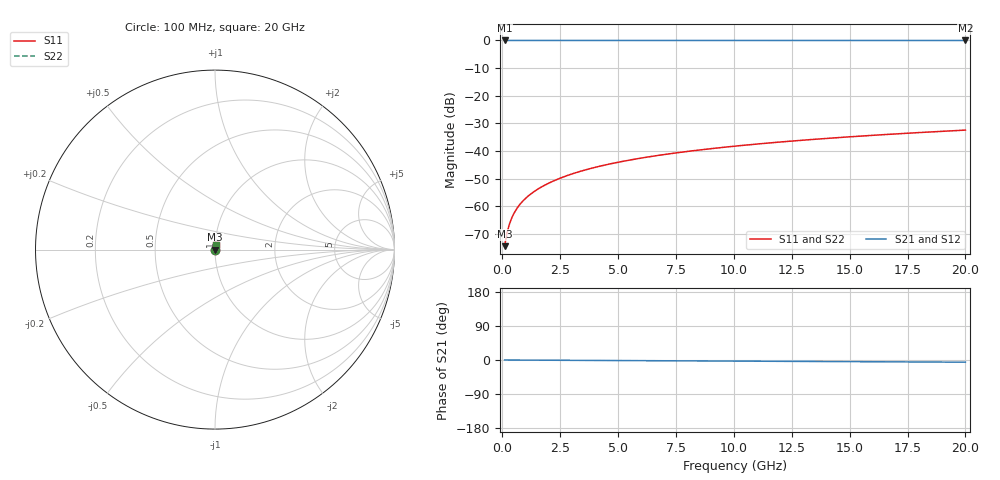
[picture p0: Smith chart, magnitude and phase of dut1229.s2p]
! Touchstone file exported from HFSS 2026.1.0
!  File:  C:/ffzhzh/LocalFiles/Ansys_Project_Files/temp_train_TSV_1229_1783193245_55132.aedt
!  Generated:  03:28:55 AM Jul  5, 2026
!  Design:  TSV
!  Project:  temp_train_TSV_1229_1783193245_55132
! Variables:
!  h_bsmrdl = 2um
!  h_ox = 20um
!  h_rdl = 5um
!  h_sub = 51.23um
!  h_tmrdl = 5um
!  h_tsv = 51.23um
!  h_via = 3um
!  l_bsmrdl = 300um
!  l_sub = 417.04um
!  l_tmrdl = 200um
!  m_sub = 200um
!  pitch = 44.96um
!  r_tsv = 8.52um
!  s_tmrdl = 10um
!  w_bsmrdl = 18um
!  w_sub = 500um
!  w_tmrdl = 12um
!  x_tsv_center1 = 206um
!  x_tsv_center2 = 524um
!  x_tsv_center3 = 736um
!  x_tsv_center4 = 1054um
!  x_tsv_center5 = 1266um
!  x_tsv_center6 = 1584um
# GHz S MA R 50.000000
! Terminal data exported
! Port[1] = TSV1_1_T1
! Port[2] = TSV1_1_T2
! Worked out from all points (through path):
!   200 points, 100 MHz to 20 GHz, reference 50 ohm
!   highest |S21| = 0.00 dB at 100 MHz (marker M1); lowest = 0.0 dB at 20 GHz (marker M2)
!   lowest |S11| = -74.4 dB at 100 MHz (marker M3), VSWR 1.00, Z = 50 + j0.015 ohm
!   |S11| at or under -10 dB: start of sweep to end of sweep
!   |S22| runs from -74.4 to -32.4 dB; largest |S21 - S12| = 3.3e-15
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0.1  0.0001898 52.3  0.9999 -0.0  0.9999 -0.0  0.0001898 52.3
! Gamma 0 0 0 0
! Port Impedance 50 0 50 0
0.2  0.0003233 67.3  0.9999 -0.1  0.9999 -0.1  0.0003233 67.3
0.3  0.000464 72.7  0.9999 -0.1  0.9999 -0.1  0.000464 72.7
0.4  0.0006035 75.3  0.9998 -0.1  0.9998 -0.1  0.0006035 75.3
0.5  0.0007401 76.7  0.9998 -0.2  0.9998 -0.2  0.0007401 76.7
0.6  0.0008734 77.6  0.9998 -0.2  0.9998 -0.2  0.0008734 77.6
0.7  0.001004 78.3  0.9998 -0.2  0.9998 -0.2  0.001004 78.3
0.8  0.001132 78.8  0.9998 -0.2  0.9998 -0.2  0.001132 78.8
1  0.001384 79.7  0.9998 -0.3  0.9998 -0.3  0.001384 79.7
1.4  0.001877 81.0  0.9997 -0.4  0.9997 -0.4  0.001877 81.0
1.7  0.002245 81.8  0.9997 -0.5  0.9997 -0.5  0.002245 81.8
2  0.002613 82.3  0.9997 -0.6  0.9997 -0.6  0.002613 82.3
2.7  0.003469 83.2  0.9996 -0.8  0.9996 -0.8  0.003469 83.2
3.5  0.004444 83.7  0.9996 -1.0  0.9996 -1.0  0.004444 83.7
4.2  0.005293 83.9  0.9995 -1.2  0.9995 -1.2  0.005293 83.9
5  0.006257 84.0  0.9995 -1.5  0.9995 -1.5  0.006257 84.0
6.8  0.008406 84.1  0.9994 -2.0  0.9994 -2.0  0.008406 84.1
8.3  0.01018 84.0  0.9993 -2.4  0.9993 -2.4  0.01018 84.0
10.1  0.01231 83.8  0.9992 -2.9  0.9992 -2.9  0.01231 83.8
13.4  0.01619 83.3  0.9991 -3.9  0.9991 -3.9  0.01619 83.3
16.7  0.02004 82.6  0.9989 -4.8  0.9989 -4.8  0.02004 82.6
20  0.02387 81.8  0.9987 -5.8  0.9987 -5.8  0.02387 81.8
